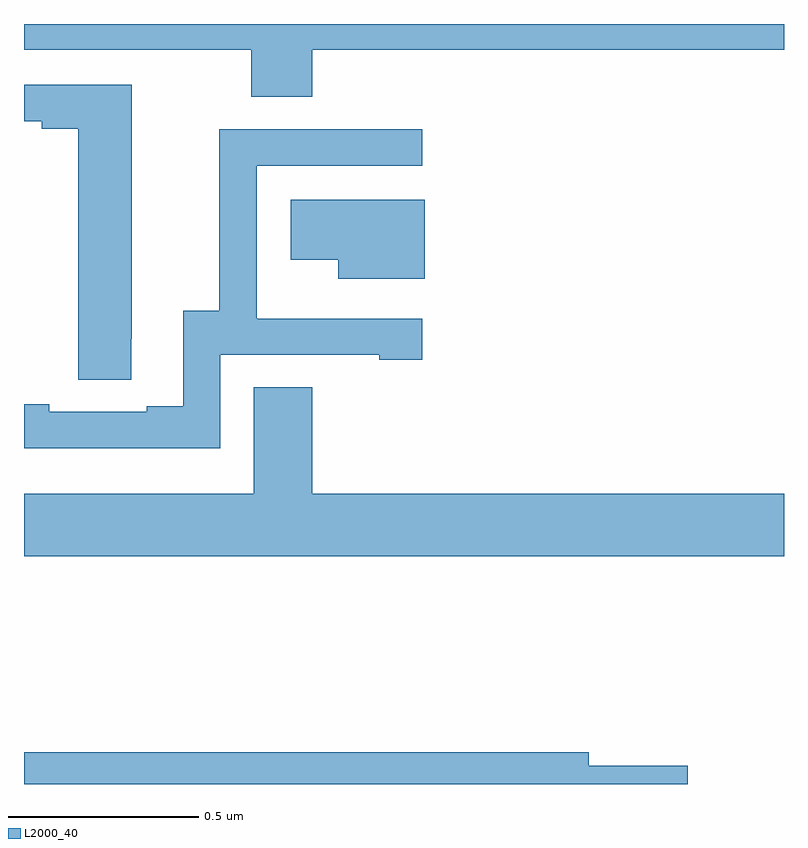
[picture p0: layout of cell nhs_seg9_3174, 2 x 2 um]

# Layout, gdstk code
import gdstk
lib = gdstk.Library(unit=1e-6, precision=1e-09)
def P(c, l, *ps):  # polygons
    for p in ps: c.add(gdstk.Polygon(p, *l))
L2000_40 = (2000, 40)

nhs_seg9_3174 = lib.new_cell('nhs_seg9_3174')
P(nhs_seg9_3174, L2000_40, [(150.758,1184.432),(152,1184.432),(152,1184.5),(150,1184.5),(150,1184.432),(150.598,1184.432),(150.598,1184.308),(150.758,1184.308)],
  [(150.282,1183.672),(150.283,1183.672),(150.283,1184.34),(150,1184.34),(150,1184.244),(150.047,1184.244),(150.047,1184.224),(150.143,1184.224),(150.143,1183.564),(150.282,1183.564)],
  [(150.516,1183.629),(150.935,1183.629),(150.935,1183.617),(151.048,1183.617),(151.048,1183.725),(150.614,1183.725),(150.614,1183.726),(150.612,1183.726),(150.612,1184.127),(151.048,1184.127),(151.048,1184.223),(150.514,1184.223),(150.514,1183.745),(150.419,1183.745),(150.419,1183.494),(150.323,1183.494),(150.323,1183.479),(150.067,1183.479),(150.067,1183.499),(150,1183.499),(150,1183.383),(150.516,1183.383)],
  [(151.054,1184.038),(150.702,1184.038),(150.702,1183.88),(150.827,1183.88),(150.827,1183.829),(151.054,1183.829)],
  [(152,1183.264),(150.758,1183.264),(150.758,1183.544),(150.605,1183.544),(150.605,1183.264),(150,1183.264),(150,1183.1),(152,1183.1)],
  [(151.747,1182.548),(151.486,1182.548),(151.486,1182.584),(150,1182.584),(150,1182.5),(151.747,1182.5)])

lib.write_gds('nhs_seg9_3174.gds')
